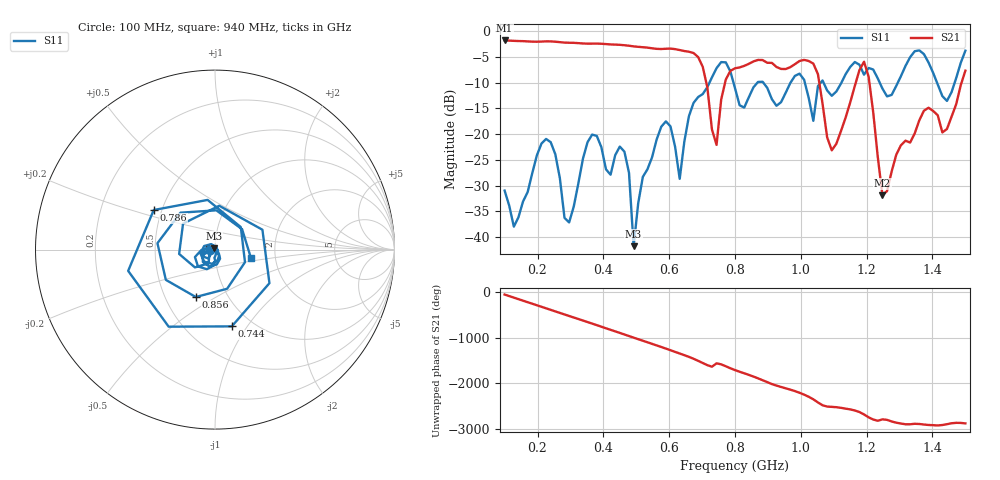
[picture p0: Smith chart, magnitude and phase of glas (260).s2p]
! NanoVNA-App
! Date: 2025-09-25 15:57:30
! Start: 100MHz Stop: 1,5GHz Points: 101
! S-Parameter data: F S11 S21 S12 S22
# Hz S RI R 50
!  Frequency  S11_Real  S11_Imag  S21_Real  S21_Imag  S12_Real  S12_Imag  S22_Real  S22_Imag
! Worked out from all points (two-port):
!   101 points, 100 MHz to 1.5 GHz, reference 50 ohm
!   highest |S21| = -1.80 dB at 100 MHz (marker M1); lowest = -31.9 dB at 1.248 GHz (marker M2)
!   |S21| within 3 dB of the highest: start of sweep to 684.1 MHz
!   lowest |S11| = -41.7 dB at 492 MHz (marker M3), VSWR 1.02, Z = 49.5 + j0.621 ohm
!   |S11| at or under -10 dB: start of sweep to 722.3 MHz; 795.4 MHz to 868 MHz (72.62 MHz wide, 8.73 % of centre); 886.1 MHz to 968.6 MHz (82.55 MHz wide, 8.9 % of centre)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
!   S12 and S22 are empty: the file has one direction only
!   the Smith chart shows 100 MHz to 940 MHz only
!   S11 on the Smith chart (normalised r, x): 100 MHz: 0.95, -0.01; 744 MHz: 0.80, -0.85; 786 MHz: 0.45, +0.24; 856 MHz: 0.71, -0.41; 940 MHz: 1.49, -0.14
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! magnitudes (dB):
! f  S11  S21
! 100 MHz  -30.9  -1.8
! 128 MHz  -37.9  -1.9
! 226 MHz  -20.9  -2.0
! 296 MHz  -37.1  -2.2
! 338 MHz  -24.8  -2.4
! 464 MHz  -23.4  -2.7
! 492 MHz  -41.7  -3.0
! 576 MHz  -18.5  -3.5
! 632 MHz  -28.7  -3.7
! 702 MHz  -12.2  -6.9
! 744 MHz  -7.2  -22.1
! 786 MHz  -7.8  -7.7
! 800 MHz  -11.1  -7.2
! 856 MHz  -10.9  -5.9
! 940 MHz  -13.8  -7.3
! 1.038 GHz  -17.4  -6.3
! 1.094 GHz  -12.5  -23.1
! 1.192 GHz  -8.4  -5.9
! 1.248 GHz  -11.2  -31.9
! 1.276 GHz  -12.4  -27.2
! 1.444 GHz  -13.5  -19.0
! 1.5 GHz  -3.8  -7.7
